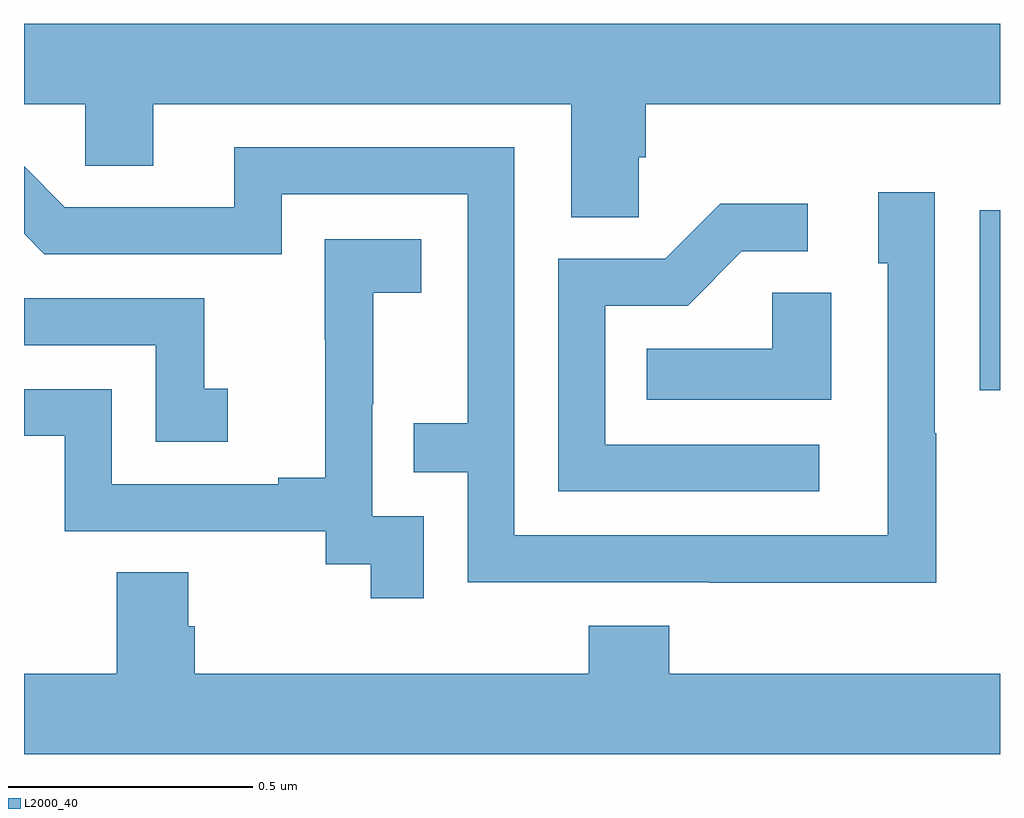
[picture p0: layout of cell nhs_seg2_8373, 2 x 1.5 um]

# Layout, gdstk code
import gdstk
lib = gdstk.Library(unit=1e-6, precision=1e-09)
def R(c, l, rs):  # rectangles x0, y0, x1, y1
    for r in rs: c.add(gdstk.rectangle(r[:2], r[2:], *l))
def P(c, l, *ps):  # polygons
    for p in ps: c.add(gdstk.Polygon(p, *l))
L2000_40 = (2000, 40)

nhs_seg2_8373 = lib.new_cell('nhs_seg2_8373')
R(nhs_seg2_8373, L2000_40, [(217.959,589.773,218,590.142)])
P(nhs_seg2_8373, L2000_40, [(216,590.36),(216.126,590.36),(216.126,590.233),(216.265,590.233),(216.265,590.36),(217.121,590.36),(217.121,590.128),(217.26,590.128),(217.26,590.251),(217.274,590.251),(217.274,590.36),(218,590.36),(218,590.524),(216,590.524)],
  [(217.869,589.685),(217.866,589.685),(217.866,590.179),(217.751,590.179),(217.751,590.034),(217.77,590.034),(217.77,589.476),(217.005,589.476),(217.005,590.271),(216.431,590.271),(216.431,590.148),(216.084,590.148),(216,590.232),(216,590.094),(216.042,590.052),(216.528,590.052),(216.528,590.175),(216.909,590.175),(216.909,589.706),(216.799,589.706),(216.799,589.605),(216.909,589.605),(216.909,589.38),(217.405,589.38),(217.405,589.379),(217.869,589.379)],
  [(217.63,589.662),(217.191,589.662),(217.191,589.947),(217.36,589.947),(217.471,590.058),(217.606,590.058),(217.606,590.156),(217.427,590.156),(217.314,590.043),(217.095,590.043),(217.095,589.566),(217.63,589.566)],
  [(216.819,589.515),(216.714,589.515),(216.714,589.745),(216.716,589.745),(216.716,589.973),(216.814,589.973),(216.814,590.083),(216.616,590.083),(216.616,589.877),(216.617,589.877),(216.617,589.594),(216.521,589.594),(216.521,589.581),(216.18,589.581),(216.18,589.776),(216,589.776),(216,589.68),(216.084,589.68),(216.084,589.485),(216.618,589.485),(216.618,589.417),(216.711,589.417),(216.711,589.347),(216.819,589.347)],
  [(217.654,589.973),(217.533,589.973),(217.533,589.858),(217.276,589.858),(217.276,589.754),(217.654,589.754)],
  [(216.418,589.777),(216.369,589.777),(216.369,589.962),(216,589.962),(216,589.866),(216.27,589.866),(216.27,589.668),(216.418,589.668)],
  [(218,589.192),(217.322,589.192),(217.322,589.291),(217.157,589.291),(217.157,589.192),(216.35,589.192),(216.35,589.29),(216.337,589.29),(216.337,589.4),(216.19,589.4),(216.19,589.192),(216,589.192),(216,589.028),(218,589.028)])

lib.write_gds('nhs_seg2_8373.gds')
